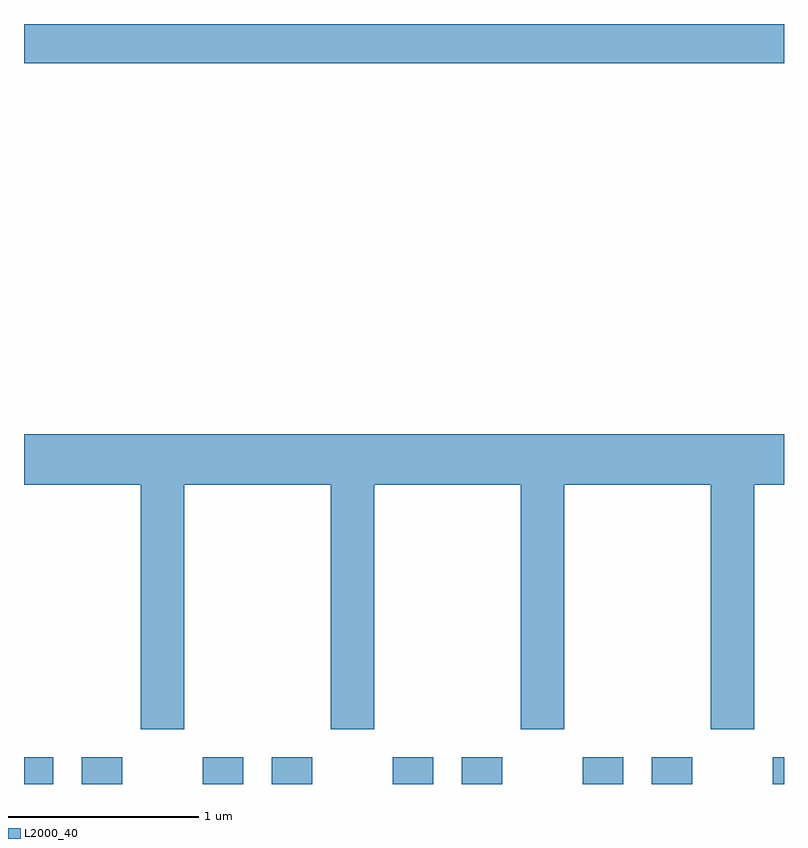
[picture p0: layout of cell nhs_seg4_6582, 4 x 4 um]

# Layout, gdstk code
import gdstk
lib = gdstk.Library(unit=1e-6, precision=1e-09)
def R(c, l, rs):  # rectangles x0, y0, x1, y1
    for r in rs: c.add(gdstk.rectangle(r[:2], r[2:], *l))
def P(c, l, *ps):  # polygons
    for p in ps: c.add(gdstk.Polygon(p, *l))
L2000_40 = (2000, 40)

nhs_seg4_6582 = lib.new_cell('nhs_seg4_6582')
R(nhs_seg4_6582, L2000_40, [(377.611,1361.982,377.764,1362.124), (377.916,1361.982,378.129,1362.124), (378.551,1361.982,378.764,1362.124), (378.916,1361.982,379.129,1362.124), (379.551,1361.982,379.764,1362.124), (379.916,1361.982,380.129,1362.124), (380.551,1361.982,380.764,1362.124), (380.916,1361.982,381.129,1362.124), (381.551,1361.982,381.611,1362.124), (377.611,1365.776,381.611,1365.982)])
P(nhs_seg4_6582, L2000_40, [(378.454,1363.556),(379.226,1363.556),(379.226,1362.271),(379.454,1362.271),(379.454,1363.556),(380.226,1363.556),(380.226,1362.271),(380.454,1362.271),(380.454,1363.556),(381.226,1363.556),(381.226,1362.271),(381.454,1362.271),(381.454,1363.556),(381.611,1363.556),(381.611,1363.824),(377.611,1363.824),(377.611,1363.556),(378.226,1363.556),(378.226,1362.271),(378.454,1362.271)])

lib.write_gds('nhs_seg4_6582.gds')
